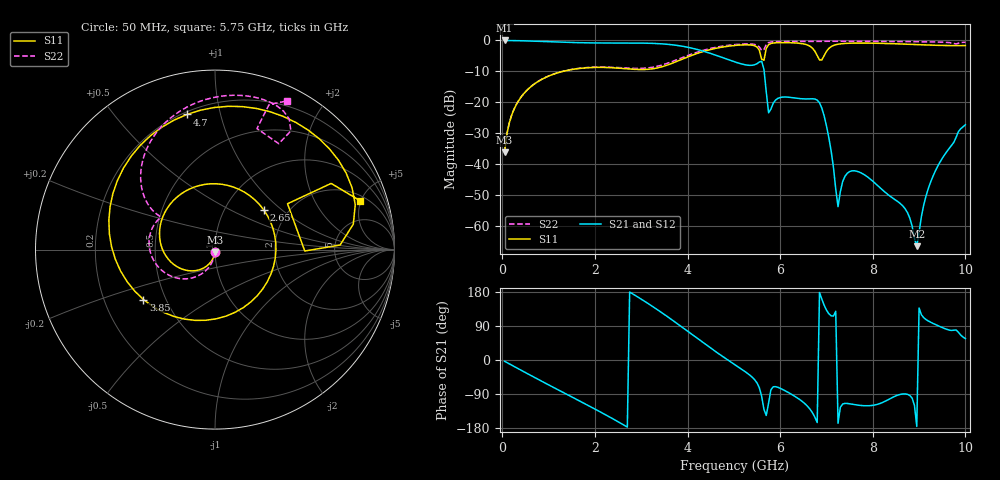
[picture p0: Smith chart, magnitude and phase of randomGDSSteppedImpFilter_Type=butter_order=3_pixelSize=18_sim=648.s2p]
! freq	dB(S11)	phase(S11)	dB(S12)	phase(S12)
!  dB(S21)	phase(S21)	dB(S22)	phase(S22)
!S-par simulation data
#  GHz  S  DB  R 50
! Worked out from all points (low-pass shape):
!   200 points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, 50 MHz to 10 GHz, reference 50 ohm
!   highest |S21| = -0.01 dB at 50 MHz (marker M1); lowest = -66.4 dB at 8.95 GHz (marker M2)
!   |S21| within 3 dB of the highest: start of sweep to 4.232 GHz
!   lowest |S11| = -36.1 dB at 50 MHz (marker M3), VSWR 1.03, Z = 49.9 - j1.56 ohm
!   |S11| at or under -10 dB: start of sweep to 1.305 GHz
!   |S22| runs from -36.1 to -0.3 dB; largest |S21 - S12| = 0
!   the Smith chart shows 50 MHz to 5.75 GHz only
!   S11 on the Smith chart (normalised r, x): 50 MHz: 1.00, -0.03; 2.65 GHz: 1.51, +0.77; 3.85 GHz: 0.38, -0.27; 4.7 GHz: 0.21, +0.79; 5.75 GHz: 2.46, +4.92
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0.05  -36.10 -93.3  -0.01 -3.4  -0.01 -3.4  -36.09 -92.1
0.5  -16.59 -129.5  -0.14 -33.2  -0.14 -33.2  -16.56 -117.8
1.75  -8.91 130.5  -0.75 -113.3  -0.75 -113.3  -8.85 -178.1
2.65  -9.11 39.4  -0.84 -173.5  -0.84 -173.5  -8.88 153.4
3.4  -8.70 -72.5  -1.06 128.6  -1.06 128.6  -8.15 148.4
3.85  -6.27 -145.1  -1.78 89.5  -1.78 89.5  -5.75 141.4
4.7  -2.28 101.7  -5.24 14.2  -5.24 14.2  -1.97 103.9
5.05  -1.58 62.9  -7.07 -14.6  -7.07 -14.6  -1.31 85.7
5.45  -1.72 17.8  -7.85 -52.1  -7.85 -52.1  -1.30 63.6
5.6  -6.02 -0.9  -6.70 -95.7  -6.70 -95.7  -3.24 59.0
5.75  -1.38 18.6  -23.36 -113.8  -23.36 -113.8  -0.70 64.0
6.25  -0.75 -40.1  -18.45 -90.9  -18.45 -90.9  -0.32 36.3
6.7  -2.53 -118.0  -18.84 -139.7  -18.84 -139.7  -0.32 18.5
6.8  -4.87 -169.1  -19.26 -165.1  -19.26 -165.1  -0.32 14.9
6.9  -6.30 96.6  -21.84 160.6  -21.84 160.6  -0.30 11.4
7.05  -2.60 3.7  -31.29 122.3  -31.29 122.3  -0.27 6.1
7.25  -1.22 -41.2  -53.67 -166.9  -53.67 -166.9  -0.26 -0.9
7.55  -0.87 -74.9  -42.09 -116.5  -42.09 -116.5  -0.27 -10.9
8.35  -1.01 -137.2  -50.01 -103.7  -50.01 -103.7  -0.33 -35.3
8.95  -1.34 172.5  -66.40 -175.3  -66.40 -175.3  -0.41 -52.0
9.25  -1.51 142.8  -45.66 99.6  -45.66 99.6  -0.47 -60.1
10  -1.64 58.3  -27.22 56.5  -27.22 56.5  -0.59 -77.5
